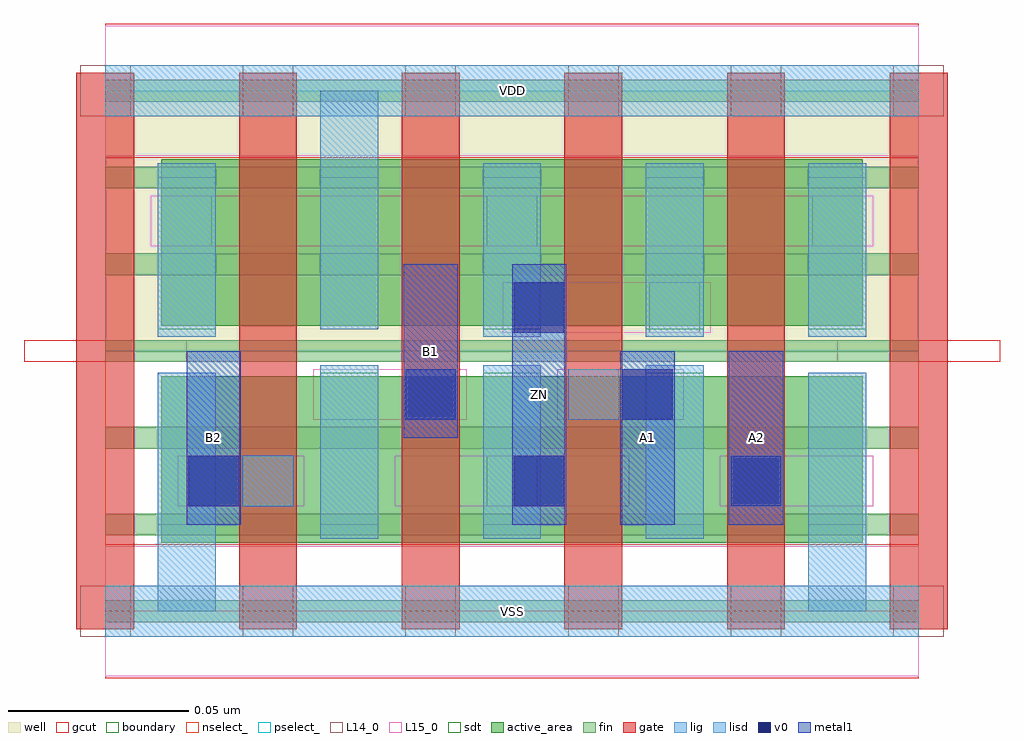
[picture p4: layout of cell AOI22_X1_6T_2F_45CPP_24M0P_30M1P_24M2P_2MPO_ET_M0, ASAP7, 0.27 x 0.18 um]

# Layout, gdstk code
import gdstk
lib = gdstk.Library(unit=1e-6, precision=2.5e-10)
def R(c, l, rs):  # rectangles x0, y0, x1, y1
    for r in rs: c.add(gdstk.rectangle(r[:2], r[2:], *l))
def A(c, l, x, y, w, h, nx, ny, dx, dy):  # array of equal rectangles
    R(c, l, [(x+i*dx, y+j*dy, x+i*dx+w, y+j*dy+h) for i in range(nx) for j in range(ny)])
well = (1, 0)
fin = (2, 0)
gate = (7, 0)
gcut = (10, 0)
active_area = (11, 0)
nselect_ = (12, 0)
pselect_ = (13, 0)
L14_0 = (14, 0)
L15_0 = (15, 0)
lig = (16, 0)
lisd = (17, 0)
v0 = (18, 0)
metal1 = (19, 0)
sdt = (88, 0)
boundary = (100, 0)

aoi22_x1_6t_2f_45cpp_24m = lib.new_cell('AOI22_X1_6T_2F_45CPP_24M0P_30M1P_24M2P_2MPO_ET_M0')
R(aoi22_x1_6t_2f_45cpp_24m, well, [(0,0.072,0.225,0.144)])
A(aoi22_x1_6t_2f_45cpp_24m, fin, 0, -0.003, 0.225, 0.006, 1, 7, 0, 0.024)
A(aoi22_x1_6t_2f_45cpp_24m, gate, -0.008, -0.005, 0.016, 0.154, 6, 1, 0.045, 0)
R(aoi22_x1_6t_2f_45cpp_24m, gcut, [(0,-0.0185,0.225,0.0185), (-0.0225,0.069,0.0225,0.075), (0.2025,0.069,0.2475,0.075), (0,0.1255,0.225,0.1625)])
A(aoi22_x1_6t_2f_45cpp_24m, active_area, 0.0155, 0.019, 0.059, 0.046, 4, 2, 0.045, 0.06)
R(aoi22_x1_6t_2f_45cpp_24m, nselect_, [(0,0,0.225,0.072)])
R(aoi22_x1_6t_2f_45cpp_24m, pselect_, [(0,0.072,0.225,0.144)])
A(aoi22_x1_6t_2f_45cpp_24m, L14_0, -0.007, -0.007, 0.014, 0.014, 6, 2, 0.045, 0.144)
A(aoi22_x1_6t_2f_45cpp_24m, L14_0, 0.038, 0.029, 0.014, 0.014, 3, 1, 0.0675, 0)
A(aoi22_x1_6t_2f_45cpp_24m, L14_0, 0.0155, 0.101, 0.014, 0.014, 3, 1, 0.09, 0)
R(aoi22_x1_6t_2f_45cpp_24m, L14_0, [(0.083,0.053,0.097,0.067), (0.128,0.053,0.142,0.067), (0.1505,0.077,0.1645,0.091)])
R(aoi22_x1_6t_2f_45cpp_24m, L15_0, [(0,-0.018,0.225,0.018), (0.02,0.029,0.055,0.043), (0.08,0.029,0.145,0.043), (0.17,0.029,0.2125,0.043), (0.0575,0.053,0.1,0.067), (0.125,0.053,0.16,0.067), (0.11,0.077,0.1675,0.091), (0.0125,0.101,0.2125,0.115), (0,0.126,0.225,0.162)])
R(aoi22_x1_6t_2f_45cpp_24m, lig, [(0,-0.007,0.225,0.007), (0.038,0.029,0.052,0.043), (0.173,0.029,0.187,0.043), (0.083,0.053,0.097,0.067), (0.128,0.053,0.142,0.067), (0,0.137,0.225,0.151)])
A(aoi22_x1_6t_2f_45cpp_24m, lisd, 0.0595, 0.02, 0.016, 0.048, 3, 1, 0.045, 0)
A(aoi22_x1_6t_2f_45cpp_24m, lisd, 0.1045, 0.076, 0.016, 0.048, 3, 1, 0.045, 0)
R(aoi22_x1_6t_2f_45cpp_24m, lisd, [(0.0145,0,0.0305,0.066), (0.1945,0,0.2105,0.066), (0.0145,0.076,0.0305,0.124), (0.0595,0.078,0.0755,0.144)])
R(aoi22_x1_6t_2f_45cpp_24m, v0, [(0.023,0.029,0.037,0.043), (0.113,0.029,0.127,0.043), (0.173,0.029,0.187,0.043), (0.083,0.053,0.097,0.067), (0.143,0.053,0.157,0.067), (0.113,0.077,0.127,0.091)])
R(aoi22_x1_6t_2f_45cpp_24m, metal1, [(0.0225,0.024,0.0375,0.072), (0.1125,0.024,0.1275,0.096), (0.1425,0.024,0.1575,0.072), (0.1725,0.024,0.1875,0.072), (0.0825,0.048,0.0975,0.096)])
A(aoi22_x1_6t_2f_45cpp_24m, sdt, 0.0145, 0.024, 0.016, 0.042, 5, 2, 0.045, 0.054)
R(aoi22_x1_6t_2f_45cpp_24m, boundary, [(0,0,0.225,0.144)])
aoi22_x1_6t_2f_45cpp_24m.add(gdstk.Label('A2', (0.18,0.048), layer=19, texttype=251))
aoi22_x1_6t_2f_45cpp_24m.add(gdstk.Label('A1', (0.15,0.048), layer=19, texttype=251))
aoi22_x1_6t_2f_45cpp_24m.add(gdstk.Label('ZN', (0.12,0.06), layer=19, texttype=251))
aoi22_x1_6t_2f_45cpp_24m.add(gdstk.Label('B1', (0.09,0.072), layer=19, texttype=251))
aoi22_x1_6t_2f_45cpp_24m.add(gdstk.Label('B2', (0.03,0.048), layer=19, texttype=251))
aoi22_x1_6t_2f_45cpp_24m.add(gdstk.Label('VDD', (0.1125,0.144), layer=15, texttype=251))
aoi22_x1_6t_2f_45cpp_24m.add(gdstk.Label('VSS', (0.1125,0), layer=15, texttype=251))
aoi22_x1_6t_2f_45cpp_24m.add(gdstk.Label('VDD', (0.1125,0.144), layer=1, texttype=251))
aoi22_x1_6t_2f_45cpp_24m.add(gdstk.Label('VSS', (0.1125,0), layer=3, texttype=251))

lib.write_gds('AOI22_X1_6T_2F_45CPP_24M0P_30M1P_24M2P_2MPO_ET_M0.gds')
